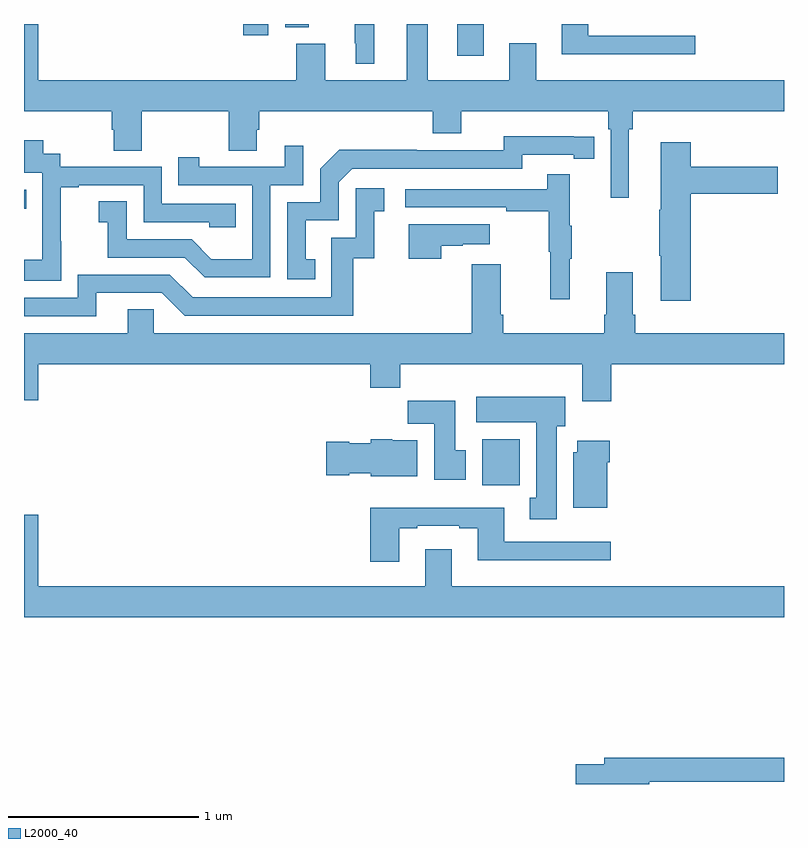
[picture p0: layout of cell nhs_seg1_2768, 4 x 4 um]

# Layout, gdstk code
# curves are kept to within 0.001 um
import gdstk
lib = gdstk.Library(unit=1e-6, precision=1e-09)
def R(c, l, rs):  # rectangles x0, y0, x1, y1
    for r in rs: c.add(gdstk.rectangle(r[:2], r[2:], *l))
def P(c, l, *ps):  # polygons
    for p in ps: c.add(gdstk.Polygon(p, *l))
L2000_40 = (2000, 40)

nhs_seg1_2768 = lib.new_cell('nhs_seg1_2768')
R(nhs_seg1_2768, L2000_40, [(263.411,541.772,263.608,542.014), (261,543.226,261.011,543.327), (263.279,544.032,263.419,544.199), (262.154,544.14,262.285,544.199), (262.376,544.181,262.498,544.199)])
P(nhs_seg1_2768, L2000_40, [(261.076,544.199),(261,544.199),(261,543.74),(261.461,543.74),(261.461,543.642),(261.473,543.642),(261.473,543.532),(261.621,543.532),(261.621,543.74),(262.078,543.74),(262.078,543.532),(262.225,543.532),(262.225,543.642),(262.238,543.642),(262.238,543.74),(263.15,543.74),(263.15,543.623),(263.302,543.623),(263.302,543.74),(264.074,543.74),(264.074,543.644),(264.087,543.644),(264.087,543.285),(264.184,543.285),(264.184,543.644),(264.203,543.644),(264.203,543.74),(265,543.74),(265,543.904),(263.695,543.904),(263.695,544.099),(263.555,544.099),(263.555,543.904),(263.125,543.904),(263.125,544.199),(263.015,544.199),(263.015,543.904),(262.585,543.904),(262.585,544.096),(262.433,544.096),(262.433,543.904),(261.076,543.904)],
  [(262.843,544.199),(262.741,544.199),(262.741,544.099),(262.745,544.099),(262.745,543.989),(262.843,543.989)],
  [(264.532,544.137),(263.971,544.137),(263.971,544.199),(263.831,544.199),(263.831,544.04),(264.532,544.04)],
  [(262.532,542.961),(262.483,542.961),(262.483,543.165),(262.656,543.165),(262.656,543.366),(262.728,543.438),(263.622,543.438),(263.622,543.51),(263.894,543.51),(263.894,543.49),(264.002,543.49),(264.002,543.606),(263.526,543.607),(263.526,543.534),(263.066,543.534),(263.066,543.536),(262.658,543.536),(262.56,543.438),(262.56,543.261),(262.386,543.261),(262.386,542.856),(262.532,542.856)],
  [(261.195,543.055),(261.194,543.055),(261.194,543.339),(261.289,543.339),(261.289,543.351),(261.63,543.351),(261.63,543.156),(261.975,543.156),(261.975,543.129),(262.115,543.129),(262.115,543.252),(261.726,543.252),(261.726,543.447),(261.192,543.447),(261.192,543.516),(261.1,543.516),(261.1,543.586),(261,543.586),(261,543.417),(261.096,543.417),(261.096,543.188),(261.095,543.188),(261.095,542.959),(261,542.959),(261,542.849),(261.195,542.849)],
  [(264.509,543.305),(264.967,543.305),(264.967,543.447),(264.509,543.447),(264.509,543.577),(264.35,543.577),(264.35,543.221),(264.343,543.221),(264.343,542.98),(264.35,542.98),(264.35,542.742),(264.509,542.742)],
  [(262.296,543.351),(262.47,543.351),(262.47,543.559),(262.373,543.559),(262.373,543.447),(261.922,543.447),(261.922,543.499),(261.811,543.499),(261.811,543.351),(262.2,543.351),(262.2,542.962),(261.986,542.962),(261.882,543.066),(261.54,543.066),(261.54,543.265),(261.393,543.265),(261.393,543.155),(261.442,543.155),(261.442,542.97),(261.845,542.97),(261.95,542.865),(262.296,542.865)],
  [(263.873,542.963),(263.884,542.963),(263.884,543.137),(263.873,543.137),(263.873,543.409),(263.755,543.409),(263.755,543.33),(263.007,543.33),(263.007,543.234),(263.539,543.234),(263.539,543.214),(263.763,543.214),(263.763,543),(263.77,543),(263.77,542.751),(263.873,542.751)],
  [(261.379,542.784),(261.726,542.784),(261.846,542.664),(262.733,542.664),(262.733,542.967),(262.844,542.967),(262.844,543.213),(262.897,543.213),(262.897,543.334),(262.746,543.334),(262.746,543.075),(262.617,543.075),(262.617,542.76),(261.888,542.76),(261.768,542.88),(261.282,542.88),(261.282,542.757),(261,542.757),(261,542.661),(261.379,542.661)],
  [(263.195,543.031),(263.309,543.031),(263.309,543.041),(263.452,543.041),(263.452,543.145),(263.024,543.145),(263.024,542.964),(263.195,542.964)],
  [(264.092,542.408),(265,542.408),(265,542.572),(264.218,542.572),(264.218,542.668),(264.205,542.668),(264.205,542.893),(264.065,542.893),(264.065,542.668),(264.053,542.668),(264.053,542.572),(263.522,542.572),(263.522,542.668),(263.509,542.668),(263.509,542.935),(263.357,542.935),(263.357,542.572),(261.684,542.572),(261.684,542.699),(261.545,542.699),(261.545,542.572),(261,542.572),(261,542.22),(261.076,542.22),(261.076,542.408),(262.823,542.408),(262.823,542.284),(262.979,542.284),(262.979,542.408),(263.939,542.408),(263.939,542.214),(264.092,542.214)],
  [(263.803,542.082),(263.848,542.082),(263.848,542.236),(263.379,542.236),(263.379,542.102),(263.696,542.102),(263.696,541.706),(263.663,541.706),(263.663,541.593),(263.803,541.593)],
  [(263.326,541.956),(263.269,541.956),(263.269,542.215),(263.02,542.215),(263.02,542.096),(263.159,542.096),(263.159,541.8),(263.326,541.8)],
  [(263.071,542.008),(262.938,542.008),(262.938,542.014),(262.824,542.014),(262.824,541.993),(262.713,541.993),(262.713,542.001),(262.59,542.001),(262.59,541.823),(262.713,541.823),(262.713,541.835),(262.824,541.835),(262.824,541.82),(263.071,541.82)],
  [(264.07,541.892),(264.083,541.892),(264.083,542.005),(263.912,542.005),(263.912,541.944),(263.891,541.944),(263.891,541.652),(264.07,541.652)],
  [(262.975,541.545),(263.071,541.545),(263.071,541.557),(263.291,541.557),(263.291,541.545),(263.387,541.545),(263.387,541.376),(264.088,541.376),(264.088,541.473),(263.527,541.473),(263.527,541.654),(262.823,541.654),(262.823,541.368),(262.975,541.368)],
  [(265,541.24),(263.251,541.24),(263.251,541.435),(263.111,541.435),(263.111,541.24),(261.076,541.24),(261.076,541.615),(261,541.615),(261,541.076),(265,541.076)],
  [(264.292,540.21),(265,540.21),(265,540.338),(264.053,540.338),(264.053,540.302),(263.904,540.302),(263.904,540.199),(264.292,540.199)])

lib.write_gds('nhs_seg1_2768.gds')
